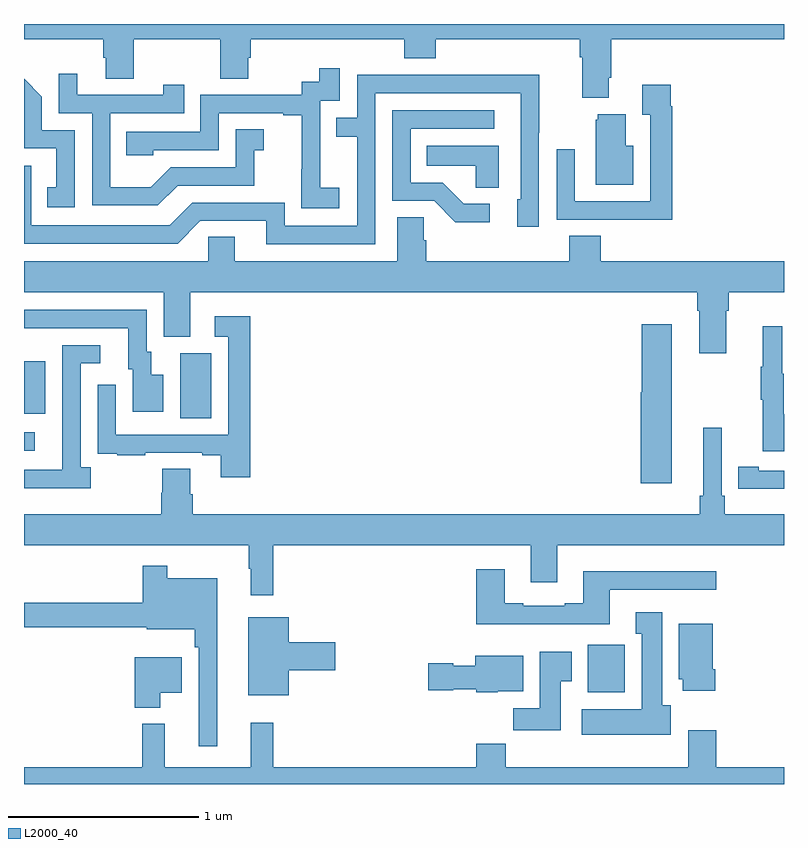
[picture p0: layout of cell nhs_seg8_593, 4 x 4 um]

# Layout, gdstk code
import gdstk
lib = gdstk.Library(unit=1e-6, precision=1e-09)
def R(c, l, rs):  # rectangles x0, y0, x1, y1
    for r in rs: c.add(gdstk.rectangle(r[:2], r[2:], *l))
def P(c, l, *ps):  # polygons
    for p in ps: c.add(gdstk.Polygon(p, *l))
L2000_40 = (2000, 40)

nhs_seg8_593 = lib.new_cell('nhs_seg8_593')
R(nhs_seg8_593, L2000_40, [(151.967,1126.382,152.163,1126.633), (149,1127.655,149.056,1127.751), (149.822,1127.824,149.986,1128.168), (149,1127.849,149.113,1128.124)])
P(nhs_seg8_593, L2000_40, [(152.077,1129.618),(152.09,1129.618),(152.09,1129.82),(153,1129.82),(153,1129.9),(149,1129.9),(149,1129.82),(149.417,1129.82),(149.417,1129.722),(149.429,1129.722),(149.429,1129.612),(149.577,1129.612),(149.577,1129.82),(150.034,1129.82),(150.034,1129.612),(150.181,1129.612),(150.181,1129.722),(150.194,1129.722),(150.194,1129.82),(151.001,1129.82),(151.001,1129.721),(151.166,1129.721),(151.166,1129.82),(151.925,1129.82),(151.925,1129.724),(151.937,1129.724),(151.937,1129.511),(152.077,1129.511)],
  [(150.658,1129.039),(150.56,1129.039),(150.56,1129.268),(150.558,1129.268),(150.558,1129.497),(150.663,1129.497),(150.663,1129.666),(150.555,1129.666),(150.555,1129.596),(150.462,1129.596),(150.462,1129.527),(149.928,1129.527),(149.928,1129.332),(149.539,1129.332),(149.539,1129.209),(149.679,1129.209),(149.679,1129.236),(150.024,1129.236),(150.024,1129.431),(150.365,1129.431),(150.365,1129.419),(150.461,1129.419),(150.461,1129.135),(150.46,1129.135),(150.46,1128.929),(150.658,1128.929)],
  [(149.809,1129.05),(150.213,1129.05),(150.213,1129.235),(150.262,1129.235),(150.262,1129.345),(150.114,1129.345),(150.114,1129.146),(149.772,1129.146),(149.668,1129.042),(149.454,1129.042),(149.454,1129.431),(149.843,1129.431),(149.843,1129.579),(149.732,1129.579),(149.732,1129.527),(149.281,1129.527),(149.281,1129.639),(149.184,1129.639),(149.184,1129.431),(149.358,1129.431),(149.358,1128.945),(149.704,1128.945)],
  [(150.849,1129.536),(151.614,1129.536),(151.614,1128.978),(151.595,1128.978),(151.595,1128.834),(151.71,1128.834),(151.71,1129.327),(151.713,1129.327),(151.713,1129.634),(151.249,1129.634),(151.249,1129.632),(150.753,1129.632),(150.753,1129.407),(150.643,1129.407),(150.643,1129.306),(150.753,1129.306),(150.753,1128.837),(150.372,1128.837),(150.372,1128.96),(149.886,1128.96),(149.766,1128.84),(149.037,1128.84),(149.037,1129.155),(149,1129.155),(149,1128.744),(149.808,1128.744),(149.928,1128.864),(150.275,1128.864),(150.275,1128.741),(150.849,1128.741)],
  [(149.268,1129.341),(149.094,1129.341),(149.094,1129.518),(149,1129.612),(149,1129.245),(149.171,1129.245),(149.171,1129.041),(149.122,1129.041),(149.122,1128.936),(149.268,1128.936)],
  [(152.411,1129.466),(152.404,1129.466),(152.404,1129.579),(152.255,1129.579),(152.255,1129.423),(152.295,1129.423),(152.295,1128.966),(151.899,1128.966),(151.899,1129.24),(151.803,1129.24),(151.803,1128.87),(152.119,1128.87),(152.119,1128.869),(152.411,1128.869)],
  [(151.45,1128.954),(151.315,1128.954),(151.204,1129.065),(151.035,1129.065),(151.035,1129.35),(151.474,1129.35),(151.474,1129.446),(150.939,1129.446),(150.939,1128.969),(151.158,1128.969),(151.271,1128.857),(151.45,1128.857)],
  [(152.206,1129.258),(152.167,1129.258),(152.167,1129.426),(152.021,1129.426),(152.021,1129.395),(152.009,1129.395),(152.009,1129.055),(152.206,1129.055)],
  [(151.498,1129.258),(151.12,1129.258),(151.12,1129.154),(151.377,1129.154),(151.377,1129.039),(151.498,1129.039)],
  [(152.695,1128.392),(152.708,1128.392),(152.708,1128.488),(153,1128.488),(153,1128.652),(152.036,1128.652),(152.036,1128.785),(151.871,1128.785),(151.871,1128.652),(151.118,1128.652),(151.118,1128.761),(151.104,1128.761),(151.104,1128.884),(150.965,1128.884),(150.965,1128.652),(150.109,1128.652),(150.109,1128.779),(149.97,1128.779),(149.97,1128.652),(149,1128.652),(149,1128.488),(149.735,1128.488),(149.735,1128.253),(149.875,1128.253),(149.875,1128.488),(152.543,1128.488),(152.543,1128.392),(152.555,1128.392),(152.555,1128.168),(152.695,1128.168)],
  [(149.734,1128.055),(149.671,1128.055),(149.671,1128.174),(149.646,1128.174),(149.646,1128.396),(149,1128.396),(149,1128.3),(149.549,1128.3),(149.549,1128.084),(149.573,1128.084),(149.573,1127.859),(149.734,1127.859)],
  [(150.191,1128.361),(150.003,1128.361),(150.003,1128.255),(150.075,1128.255),(150.075,1127.739),(149.484,1127.739),(149.484,1128.001),(149.388,1128.001),(149.388,1127.746),(149.389,1127.746),(149.389,1127.637),(149.491,1127.637),(149.491,1127.631),(149.639,1127.631),(149.639,1127.643),(149.939,1127.643),(149.939,1127.631),(150.035,1127.631),(150.035,1127.514),(150.191,1127.514)],
  [(152.41,1128.319),(152.252,1128.319),(152.252,1127.961),(152.246,1127.961),(152.246,1127.484),(152.41,1127.484)],
  [(153,1127.846),(152.998,1127.846),(152.998,1128.06),(152.99,1128.06),(152.99,1128.31),(152.888,1128.31),(152.888,1128.097),(152.877,1128.097),(152.877,1127.923),(152.888,1127.923),(152.888,1127.652),(153,1127.652)],
  [(149.35,1127.566),(149.298,1127.566),(149.298,1128.114),(149.401,1128.114),(149.401,1128.21),(149.202,1128.21),(149.202,1127.753),(149.201,1127.753),(149.201,1127.553),(149,1127.553),(149,1127.456),(149.35,1127.456)],
  [(150.311,1127.156),(151.667,1127.156),(151.667,1126.962),(151.807,1126.962),(151.807,1127.156),(153,1127.156),(153,1127.32),(152.687,1127.32),(152.687,1127.416),(152.673,1127.416),(152.673,1127.776),(152.576,1127.776),(152.576,1127.416),(152.557,1127.416),(152.557,1127.32),(149.888,1127.32),(149.888,1127.426),(149.875,1127.426),(149.875,1127.558),(149.728,1127.558),(149.728,1127.433),(149.723,1127.433),(149.723,1127.32),(149,1127.32),(149,1127.156),(150.183,1127.156),(150.183,1127.033),(150.194,1127.033),(150.194,1126.893),(150.311,1126.893)],
  [(153,1127.55),(152.866,1127.55),(152.866,1127.57),(152.758,1127.57),(152.758,1127.454),(152.866,1127.454),(152.866,1127.453),(153,1127.453)],
  [(150.016,1126.984),(149.755,1126.984),(149.755,1127.05),(149.626,1127.05),(149.626,1126.855),(149,1126.855),(149,1126.726),(149.645,1126.726),(149.645,1126.715),(149.899,1126.715),(149.899,1126.619),(149.919,1126.619),(149.919,1126.098),(150.016,1126.098)],
  [(152.083,1126.923),(152.644,1126.923),(152.644,1127.02),(151.943,1127.02),(151.943,1126.852),(151.847,1126.852),(151.847,1126.839),(151.627,1126.839),(151.627,1126.852),(151.531,1126.852),(151.531,1127.029),(151.379,1127.029),(151.379,1126.742),(152.083,1126.742)],
  [(152.404,1126.314),(152.359,1126.314),(152.359,1126.804),(152.219,1126.804),(152.219,1126.691),(152.252,1126.691),(152.252,1126.294),(151.935,1126.294),(151.935,1126.16),(152.404,1126.16)],
  [(150.394,1126.499),(150.637,1126.499),(150.637,1126.646),(150.394,1126.646),(150.394,1126.777),(150.179,1126.777),(150.179,1126.367),(150.394,1126.367)],
  [(152.639,1126.504),(152.626,1126.504),(152.626,1126.744),(152.447,1126.744),(152.447,1126.452),(152.468,1126.452),(152.468,1126.392),(152.639,1126.392)],
  [(151.825,1126.441),(151.882,1126.441),(151.882,1126.597),(151.715,1126.597),(151.715,1126.3),(151.576,1126.3),(151.576,1126.182),(151.825,1126.182)],
  [(151.494,1126.388),(151.627,1126.388),(151.627,1126.576),(151.376,1126.576),(151.376,1126.522),(151.26,1126.522),(151.26,1126.535),(151.128,1126.535),(151.128,1126.393),(151.26,1126.393),(151.26,1126.4),(151.38,1126.4),(151.38,1126.382),(151.494,1126.382)],
  [(149.716,1126.379),(149.83,1126.379),(149.83,1126.567),(149.582,1126.567),(149.582,1126.301),(149.716,1126.301)],
  [(153,1125.988),(152.643,1125.988),(152.643,1126.183),(152.495,1126.183),(152.495,1125.988),(151.535,1125.988),(151.535,1126.112),(151.379,1126.112),(151.379,1125.988),(150.311,1125.988),(150.311,1126.222),(150.194,1126.222),(150.194,1125.988),(149.741,1125.988),(149.741,1126.216),(149.623,1126.216),(149.623,1125.988),(149,1125.988),(149,1125.9),(153,1125.9)])

lib.write_gds('nhs_seg8_593.gds')
